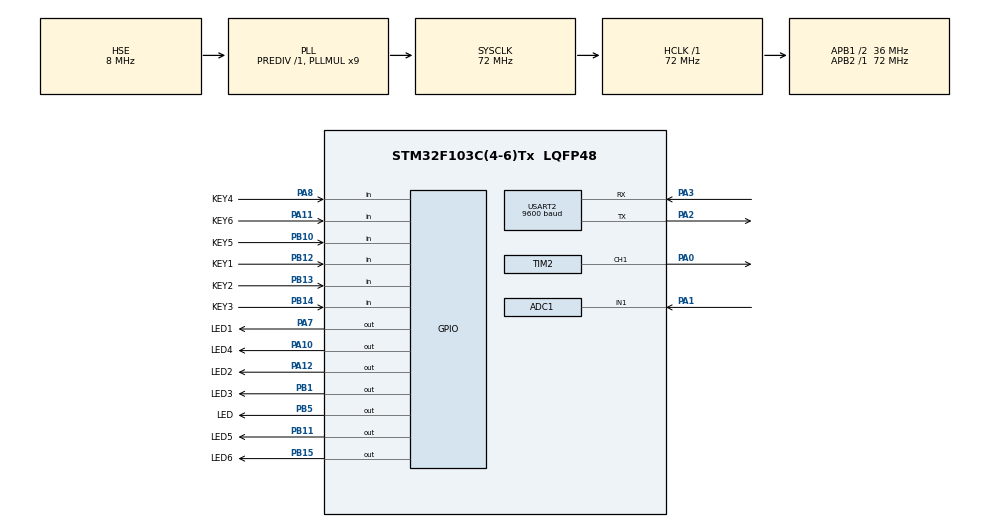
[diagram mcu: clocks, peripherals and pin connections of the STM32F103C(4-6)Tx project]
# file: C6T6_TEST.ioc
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ADC1.Channel-0\#ChannelRegularConversion=ADC_CHANNEL_1
ADC1.NbrOfConversionFlag=1
ADC1.Rank-0\#ChannelRegularConversion=1
ADC1.SamplingTime-0\#ChannelRegularConversion=ADC_SAMPLETIME_7CYCLES_5
ADC1.master=1
Dma.Request0=USART2_RX
Dma.USART2_RX.0.Direction=DMA_PERIPH_TO_MEMORY
Dma.USART2_RX.0.Instance=DMA1_Channel6
Dma.USART2_RX.0.MemDataAlignment=DMA_MDATAALIGN_BYTE
Dma.USART2_RX.0.MemInc=DMA_MINC_ENABLE
Dma.USART2_RX.0.Mode=DMA_NORMAL
Dma.USART2_RX.0.PeriphDataAlignment=DMA_PDATAALIGN_BYTE
Dma.USART2_RX.0.PeriphInc=DMA_PINC_DISABLE
Dma.USART2_RX.0.Priority=DMA_PRIORITY_HIGH
Mcu.Family=STM32F1
Mcu.Name=STM32F103C(4-6)Tx
Mcu.Package=LQFP48
NVIC.DMA1_Channel6_IRQn=true\:0\:0\:false\:false\:true\:false\:true
NVIC.PriorityGroup=NVIC_PRIORITYGROUP_1
NVIC.TIM1_UP_IRQn=true\:1\:7\:true\:false\:true\:true\:true
NVIC.TIM3_IRQn=true\:1\:0\:true\:false\:true\:true\:true
NVIC.USART2_IRQn=true\:0\:0\:true\:false\:true\:true\:true
PA0-WKUP.Signal=S_TIM2_CH1_ETR
PA1.Signal=ADCx_IN1
PA10.GPIO_Label=LED4
PA10.GPIO_PuPd=GPIO_PULLUP
PA10.GPIO_Speed=GPIO_SPEED_FREQ_HIGH
PA10.PinState=GPIO_PIN_SET
PA10.Signal=GPIO_Output
PA11.GPIO_Label=KEY6
PA11.GPIO_PuPd=GPIO_PULLDOWN
PA11.Signal=GPIO_Input
PA12.GPIO_Label=LED2
PA12.GPIO_PuPd=GPIO_PULLUP
PA12.GPIO_Speed=GPIO_SPEED_FREQ_HIGH
PA12.PinState=GPIO_PIN_SET
PA12.Signal=GPIO_Output
PA13.Mode=Serial_Wire
PA13.Signal=SYS_JTMS-SWDIO
PA14.Mode=Serial_Wire
PA14.Signal=SYS_JTCK-SWCLK
PA2.Mode=Asynchronous
PA2.Signal=USART2_TX
PA3.Mode=Asynchronous
PA3.Signal=USART2_RX
PA7.GPIO_Label=LED1
PA7.GPIO_PuPd=GPIO_PULLUP
PA7.GPIO_Speed=GPIO_SPEED_FREQ_HIGH
PA7.PinState=GPIO_PIN_SET
PA7.Signal=GPIO_Output
PA8.GPIO_Label=KEY4
PA8.GPIO_PuPd=GPIO_PULLDOWN
PA8.Signal=GPIO_Input
PB1.GPIO_Label=LED3
PB1.GPIO_PuPd=GPIO_PULLUP
PB1.GPIO_Speed=GPIO_SPEED_FREQ_HIGH
PB1.PinState=GPIO_PIN_SET
PB1.Signal=GPIO_Output
PB10.GPIO_Label=KEY5
PB10.GPIO_PuPd=GPIO_PULLDOWN
PB10.Signal=GPIO_Input
PB11.GPIO_Label=LED5
PB11.GPIO_PuPd=GPIO_PULLUP
PB11.GPIO_Speed=GPIO_SPEED_FREQ_HIGH
PB11.PinState=GPIO_PIN_SET
PB11.Signal=GPIO_Output
PB12.GPIO_Label=KEY1
PB12.GPIO_PuPd=GPIO_PULLDOWN
PB12.Signal=GPIO_Input
PB13.GPIO_Label=KEY2
PB13.GPIO_PuPd=GPIO_PULLDOWN
PB13.Signal=GPIO_Input
PB14.GPIO_Label=KEY3
PB14.GPIO_PuPd=GPIO_PULLDOWN
PB14.Signal=GPIO_Input
PB15.GPIO_Label=LED6
PB15.GPIO_PuPd=GPIO_PULLUP
PB15.GPIO_Speed=GPIO_SPEED_FREQ_HIGH
PB15.PinState=GPIO_PIN_SET
PB15.Signal=GPIO_Output
PB5.GPIO_Label=LED
PB5.GPIO_PuPd=GPIO_PULLUP
PB5.GPIO_Speed=GPIO_SPEED_FREQ_HIGH
PB5.PinState=GPIO_PIN_SET
PB5.Signal=GPIO_Output
PD0-OSC_IN.Mode=HSE-External-Oscillator
PD0-OSC_IN.Signal=RCC_OSC_IN
PD1-OSC_OUT.Mode=HSE-External-Oscillator
PD1-OSC_OUT.Signal=RCC_OSC_OUT
ProjectManager.HeapSize=0x200
ProjectManager.StackSize=0x400
ProjectManager.TargetToolchain=STM32CubeIDE
RCC.ADCPresc=RCC_ADCPCLK2_DIV8
RCC.AHBFreq_Value=72000000
RCC.APB1CLKDivider=RCC_HCLK_DIV2
RCC.APB1Freq_Value=36000000
RCC.APB1TimFreq_Value=72000000
RCC.APB2Freq_Value=72000000
RCC.APB2TimFreq_Value=72000000
RCC.HCLKFreq_Value=72000000
RCC.PLLMUL=RCC_PLL_MUL9
RCC.PLLSourceVirtual=RCC_PLLSOURCE_HSE
RCC.SYSCLKFreq_VALUE=72000000
RCC.SYSCLKSource=RCC_SYSCLKSOURCE_PLLCLK
RCC.USBFreq_Value=72000000
SH.ADCx_IN1.0=ADC1_IN1,IN1
SH.S_TIM2_CH1_ETR.0=TIM2_CH1,PWM Generation1 CH1
TIM1.ClockDivision=TIM_CLOCKDIVISION_DIV1
TIM1.Period=99
TIM1.Prescaler=7200
TIM2.Channel-PWM\ Generation1\ CH1=TIM_CHANNEL_1
TIM2.ClockDivision=TIM_CLOCKDIVISION_DIV1
TIM2.Period=2000
TIM2.Prescaler=720
TIM3.Period=40000
TIM3.Prescaler=8
USART2.BaudRate=9600
USART2.VirtualMode=VM_ASYNC
VP_RTC_VS_RTC_Activate.Mode=RTC_Enabled
VP_RTC_VS_RTC_Calendar.Mode=RTC_Calendar
VP_TIM1_VS_ClockSourceINT.Mode=Internal
VP_TIM2_VS_ClockSourceINT.Mode=Internal
VP_TIM3_VS_ClockSourceINT.Mode=Internal
board=custom

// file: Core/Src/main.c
/* USER CODE BEGIN Header */
/**
  ******************************************************************************
  * @file           : main.c
  * @brief          : Main program body
  ******************************************************************************
  * @attention
  *
  * <h2><center>&copy; Copyright (c) 2021 STMicroelectronics.
  * All rights reserved.</center></h2>
  *
  * This software component is licensed by ST under BSD 3-Clause license,
  * the "License"; You may not use this file except in compliance with the
  * License. You may obtain a copy of the License at:
  *                        opensource.org/licenses/BSD-3-Clause
  *
  ******************************************************************************
  */

/* USER CODE END Header */
#include "main.h"

/* USER CODE BEGIN Includes */
#include "stm32f1xx_hal_def.h"
/* USER CODE END Includes */

/* USER CODE BEGIN PTD */
typedef struct LED_STRUCT
{
	GPIO_TypeDef *LedPort;
	uint16_t LedPin;
}LEDS;

typedef struct KEY_STRUCT
{
	GPIO_TypeDef *KeyPort;
	uint16_t KeyPin;
}KEYS;
/* USER CODE END PTD */

ADC_HandleTypeDef hadc1;

RTC_HandleTypeDef hrtc;

TIM_HandleTypeDef htim1;
TIM_HandleTypeDef htim2;
TIM_HandleTypeDef htim3;

UART_HandleTypeDef huart2;
DMA_HandleTypeDef hdma_usart2_rx;

/* USER CODE BEGIN PV */
LEDS leds[6];
KEYS keys[6];
uint8_t key_states[6];
uint16_t ADC;
/* USER CODE END PV */

void SystemClock_Config(void);
static void MX_GPIO_Init(void);
static void MX_RTC_Init(void);
static void MX_TIM1_Init(void);
static void MX_TIM2_Init(void);
static void MX_TIM3_Init(void);
static void MX_DMA_Init(void);
static void MX_USART2_UART_Init(void);
static void MX_ADC1_Init(void);
/* USER CODE BEGIN PFP */
int counts=500;
char receive[10];
char send[10]="hahaha";
void set_pwm(uint16_t n);
void uart2pwm(char* rec, char len);
/* USER CODE END PFP */

int main(void)
{

  /* MCU Configuration--------------------------------------------------------*/

  /* Reset of all peripherals, Initializes the Flash interface and the Systick. */
  HAL_Init();

  /* USER CODE BEGIN Init */
  LEDS_INIT();
  KEYS_INIT();
  /* USER CODE END Init */

  /* Configure the system clock */
  SystemClock_Config();

  /* Initialize all configured peripherals */
  MX_GPIO_Init();
  MX_RTC_Init();
  MX_TIM1_Init();
  MX_TIM2_Init();
  MX_TIM3_Init();
  MX_DMA_Init();
  MX_USART2_UART_Init();
  MX_ADC1_Init();
  /* USER CODE BEGIN 2 */
  //HAL_UART_Receive_IT(&huart2, send, 1);
 // HAL_UART_Receive_IT(&huart2, receive, 1);

  HAL_TIM_Base_Start_IT(&htim1);
  //HAL_TIM_Base_Start_IT(&htim3);
  /* USER CODE END 2 */

  /* Infinite loop */
  /* USER CODE BEGIN WHILE */
   // set_pwm(counts);
  HAL_UART_Receive_DMA(&huart2, receive, 10);
    HAL_TIM_PWM_Start(&htim2, TIM_CHANNEL_1);
    __HAL_TIM_SET_COMPARE(&htim2, TIM_CHANNEL_1, 100);

  while (1)
  {

	  GPIO_PinState key0 = HAL_GPIO_ReadPin(keys[0].KeyPort, keys[0].KeyPin);
	  if(key0==1)
	  {
		  __HAL_TIM_SET_COMPARE(&htim2, TIM_CHANNEL_1, 100);
	  }

    /* USER CODE END WHILE */

  }
}

void SystemClock_Config(void)
{
  RCC_OscInitTypeDef RCC_OscInitStruct = {0};
  RCC_ClkInitTypeDef RCC_ClkInitStruct = {0};
  RCC_PeriphCLKInitTypeDef PeriphClkInit = {0};

  /** Initializes the RCC Oscillators according to the specified parameters
  * in the RCC_OscInitTypeDef structure.
  */
  RCC_OscInitStruct.OscillatorType = RCC_OSCILLATORTYPE_LSI|RCC_OSCILLATORTYPE_HSE;
  RCC_OscInitStruct.HSEState = RCC_HSE_ON;
  RCC_OscInitStruct.HSEPredivValue = RCC_HSE_PREDIV_DIV1;
  RCC_OscInitStruct.HSIState = RCC_HSI_ON;
  RCC_OscInitStruct.LSIState = RCC_LSI_ON;
  RCC_OscInitStruct.PLL.PLLState = RCC_PLL_ON;
  RCC_OscInitStruct.PLL.PLLSource = RCC_PLLSOURCE_HSE;
  RCC_OscInitStruct.PLL.PLLMUL = RCC_PLL_MUL9;
  if (HAL_RCC_OscConfig(&RCC_OscInitStruct) != HAL_OK)
  {
    Error_Handler();
  }
  /** Initializes the CPU, AHB and APB buses clocks
  */
  RCC_ClkInitStruct.ClockType = RCC_CLOCKTYPE_HCLK|RCC_CLOCKTYPE_SYSCLK
                              |RCC_CLOCKTYPE_PCLK1|RCC_CLOCKTYPE_PCLK2;
  RCC_ClkInitStruct.SYSCLKSource = RCC_SYSCLKSOURCE_PLLCLK;
  RCC_ClkInitStruct.AHBCLKDivider = RCC_SYSCLK_DIV1;
  RCC_ClkInitStruct.APB1CLKDivider = RCC_HCLK_DIV2;
  RCC_ClkInitStruct.APB2CLKDivider = RCC_HCLK_DIV1;

  if (HAL_RCC_ClockConfig(&RCC_ClkInitStruct, FLASH_LATENCY_2) != HAL_OK)
  {
    Error_Handler();
  }
  PeriphClkInit.PeriphClockSelection = RCC_PERIPHCLK_RTC|RCC_PERIPHCLK_ADC;
  PeriphClkInit.RTCClockSelection = RCC_RTCCLKSOURCE_LSI;
  PeriphClkInit.AdcClockSelection = RCC_ADCPCLK2_DIV8;
  if (HAL_RCCEx_PeriphCLKConfig(&PeriphClkInit) != HAL_OK)
  {
    Error_Handler();
  }
}

static void MX_ADC1_Init(void)
{

  ADC_ChannelConfTypeDef sConfig = {0};

  /** Common config
  */
  hadc1.Instance = ADC1;
  hadc1.Init.ScanConvMode = ADC_SCAN_DISABLE;
  hadc1.Init.ContinuousConvMode = DISABLE;
  hadc1.Init.DiscontinuousConvMode = DISABLE;
  hadc1.Init.ExternalTrigConv = ADC_SOFTWARE_START;
  hadc1.Init.DataAlign = ADC_DATAALIGN_RIGHT;
  hadc1.Init.NbrOfConversion = 1;
  if (HAL_ADC_Init(&hadc1) != HAL_OK)
  {
    Error_Handler();
  }
  /** Configure Regular Channel
  */
  sConfig.Channel = ADC_CHANNEL_1;
  sConfig.Rank = ADC_REGULAR_RANK_1;
  sConfig.SamplingTime = ADC_SAMPLETIME_7CYCLES_5;
  if (HAL_ADC_ConfigChannel(&hadc1, &sConfig) != HAL_OK)
  {
    Error_Handler();
  }

}

static void MX_RTC_Init(void)
{

  RTC_TimeTypeDef sTime = {0};
  RTC_DateTypeDef DateToUpdate = {0};

  /** Initialize RTC Only
  */
  hrtc.Instance = RTC;
  hrtc.Init.AsynchPrediv = RTC_AUTO_1_SECOND;
  hrtc.Init.OutPut = RTC_OUTPUTSOURCE_ALARM;
  if (HAL_RTC_Init(&hrtc) != HAL_OK)
  {
    Error_Handler();
  }

  /** Initialize RTC and set the Time and Date
  */
  sTime.Hours = 0x0;
  sTime.Minutes = 0x0;
  sTime.Seconds = 0x0;

  if (HAL_RTC_SetTime(&hrtc, &sTime, RTC_FORMAT_BCD) != HAL_OK)
  {
    Error_Handler();
  }
  DateToUpdate.WeekDay = RTC_WEEKDAY_MONDAY;
  DateToUpdate.Month = RTC_MONTH_JANUARY;
  DateToUpdate.Date = 0x1;
  DateToUpdate.Year = 0x0;

  if (HAL_RTC_SetDate(&hrtc, &DateToUpdate, RTC_FORMAT_BCD) != HAL_OK)
  {
    Error_Handler();
  }

}

static void MX_TIM1_Init(void)
{

  TIM_ClockConfigTypeDef sClockSourceConfig = {0};
  TIM_MasterConfigTypeDef sMasterConfig = {0};

  htim1.Instance = TIM1;
  htim1.Init.Prescaler = 7200;
  htim1.Init.CounterMode = TIM_COUNTERMODE_UP;
  htim1.Init.Period = 99;
  htim1.Init.ClockDivision = TIM_CLOCKDIVISION_DIV1;
  htim1.Init.RepetitionCounter = 0;
  htim1.Init.AutoReloadPreload = TIM_AUTORELOAD_PRELOAD_DISABLE;
  if (HAL_TIM_Base_Init(&htim1) != HAL_OK)
  {
    Error_Handler();
  }
  sClockSourceConfig.ClockSource = TIM_CLOCKSOURCE_INTERNAL;
  if (HAL_TIM_ConfigClockSource(&htim1, &sClockSourceConfig) != HAL_OK)
  {
    Error_Handler();
  }
  sMasterConfig.MasterOutputTrigger = TIM_TRGO_RESET;
  sMasterConfig.MasterSlaveMode = TIM_MASTERSLAVEMODE_DISABLE;
  if (HAL_TIMEx_MasterConfigSynchronization(&htim1, &sMasterConfig) != HAL_OK)
  {
    Error_Handler();
  }

}

static void MX_TIM2_Init(void)
{

  TIM_ClockConfigTypeDef sClockSourceConfig = {0};
  TIM_MasterConfigTypeDef sMasterConfig = {0};
  TIM_OC_InitTypeDef sConfigOC = {0};

  htim2.Instance = TIM2;
  htim2.Init.Prescaler = 720;
  htim2.Init.CounterMode = TIM_COUNTERMODE_UP;
  htim2.Init.Period = 2000;
  htim2.Init.ClockDivision = TIM_CLOCKDIVISION_DIV1;
  htim2.Init.AutoReloadPreload = TIM_AUTORELOAD_PRELOAD_DISABLE;
  if (HAL_TIM_Base_Init(&htim2) != HAL_OK)
  {
    Error_Handler();
  }
  sClockSourceConfig.ClockSource = TIM_CLOCKSOURCE_INTERNAL;
  if (HAL_TIM_ConfigClockSource(&htim2, &sClockSourceConfig) != HAL_OK)
  {
    Error_Handler();
  }
  if (HAL_TIM_PWM_Init(&htim2) != HAL_OK)
  {
    Error_Handler();
  }
  sMasterConfig.MasterOutputTrigger = TIM_TRGO_RESET;
  sMasterConfig.MasterSlaveMode = TIM_MASTERSLAVEMODE_DISABLE;
  if (HAL_TIMEx_MasterConfigSynchronization(&htim2, &sMasterConfig) != HAL_OK)
  {
    Error_Handler();
  }
  sConfigOC.OCMode = TIM_OCMODE_PWM1;
  sConfigOC.Pulse = 0;
  sConfigOC.OCPolarity = TIM_OCPOLARITY_HIGH;
  sConfigOC.OCFastMode = TIM_OCFAST_DISABLE;
  if (HAL_TIM_PWM_ConfigChannel(&htim2, &sConfigOC, TIM_CHANNEL_1) != HAL_OK)
  {
    Error_Handler();
  }
  HAL_TIM_MspPostInit(&htim2);

}

static void MX_TIM3_Init(void)
{

  TIM_ClockConfigTypeDef sClockSourceConfig = {0};
  TIM_MasterConfigTypeDef sMasterConfig = {0};

  htim3.Instance = TIM3;
  htim3.Init.Prescaler = 8;
  htim3.Init.CounterMode = TIM_COUNTERMODE_UP;
  htim3.Init.Period = 40000;
  htim3.Init.ClockDivision = TIM_CLOCKDIVISION_DIV1;
  htim3.Init.AutoReloadPreload = TIM_AUTORELOAD_PRELOAD_DISABLE;
  if (HAL_TIM_Base_Init(&htim3) != HAL_OK)
  {
    Error_Handler();
  }
  sClockSourceConfig.ClockSource = TIM_CLOCKSOURCE_INTERNAL;
  if (HAL_TIM_ConfigClockSource(&htim3, &sClockSourceConfig) != HAL_OK)
  {
    Error_Handler();
  }
  sMasterConfig.MasterOutputTrigger = TIM_TRGO_RESET;
  sMasterConfig.MasterSlaveMode = TIM_MASTERSLAVEMODE_DISABLE;
  if (HAL_TIMEx_MasterConfigSynchronization(&htim3, &sMasterConfig) != HAL_OK)
  {
    Error_Handler();
  }

}

static void MX_USART2_UART_Init(void)
{

  huart2.Instance = USART2;
  huart2.Init.BaudRate = 9600;
  huart2.Init.WordLength = UART_WORDLENGTH_8B;
  huart2.Init.StopBits = UART_STOPBITS_1;
  huart2.Init.Parity = UART_PARITY_NONE;
  huart2.Init.Mode = UART_MODE_TX_RX;
  huart2.Init.HwFlowCtl = UART_HWCONTROL_NONE;
  huart2.Init.OverSampling = UART_OVERSAMPLING_16;
  if (HAL_UART_Init(&huart2) != HAL_OK)
  {
    Error_Handler();
  }
  /* USER CODE BEGIN USART2_Init 2 */
  __HAL_UART_ENABLE_IT(&huart2, UART_IT_IDLE);  // 串口空闲中断

  /* USER CODE END USART2_Init 2 */

}

static void MX_DMA_Init(void)
{

  /* DMA controller clock enable */
  __HAL_RCC_DMA1_CLK_ENABLE();

  /* DMA interrupt init */
  /* DMA1_Channel6_IRQn interrupt configuration */
  HAL_NVIC_SetPriority(DMA1_Channel6_IRQn, 0, 0);
  HAL_NVIC_EnableIRQ(DMA1_Channel6_IRQn);

}

static void MX_GPIO_Init(void)
{
  GPIO_InitTypeDef GPIO_InitStruct = {0};

  /* GPIO Ports Clock Enable */
  __HAL_RCC_GPIOD_CLK_ENABLE();
  __HAL_RCC_GPIOA_CLK_ENABLE();
  __HAL_RCC_GPIOB_CLK_ENABLE();

  /*Configure GPIO pin Output Level */
  HAL_GPIO_WritePin(GPIOA, LED1_Pin|LED4_Pin|LED2_Pin, GPIO_PIN_SET);

  /*Configure GPIO pin Output Level */
  HAL_GPIO_WritePin(GPIOB, LED3_Pin|LED5_Pin|LED6_Pin|LED_Pin, GPIO_PIN_SET);

  /*Configure GPIO pins : LED1_Pin LED4_Pin LED2_Pin */
  GPIO_InitStruct.Pin = LED1_Pin|LED4_Pin|LED2_Pin;
  GPIO_InitStruct.Mode = GPIO_MODE_OUTPUT_PP;
  GPIO_InitStruct.Pull = GPIO_PULLUP;
  GPIO_InitStruct.Speed = GPIO_SPEED_FREQ_HIGH;
  HAL_GPIO_Init(GPIOA, &GPIO_InitStruct);

  /*Configure GPIO pins : LED3_Pin LED5_Pin LED6_Pin LED_Pin */
  GPIO_InitStruct.Pin = LED3_Pin|LED5_Pin|LED6_Pin|LED_Pin;
  GPIO_InitStruct.Mode = GPIO_MODE_OUTPUT_PP;
  GPIO_InitStruct.Pull = GPIO_PULLUP;
  GPIO_InitStruct.Speed = GPIO_SPEED_FREQ_HIGH;
  HAL_GPIO_Init(GPIOB, &GPIO_InitStruct);

  /*Configure GPIO pins : KEY5_Pin KEY1_Pin KEY2_Pin KEY3_Pin */
  GPIO_InitStruct.Pin = KEY5_Pin|KEY1_Pin|KEY2_Pin|KEY3_Pin;
  GPIO_InitStruct.Mode = GPIO_MODE_INPUT;
  GPIO_InitStruct.Pull = GPIO_PULLDOWN;
  HAL_GPIO_Init(GPIOB, &GPIO_InitStruct);

  /*Configure GPIO pins : KEY4_Pin KEY6_Pin */
  GPIO_InitStruct.Pin = KEY4_Pin|KEY6_Pin;
  GPIO_InitStruct.Mode = GPIO_MODE_INPUT;
  GPIO_InitStruct.Pull = GPIO_PULLDOWN;
  HAL_GPIO_Init(GPIOA, &GPIO_InitStruct);

}

/* USER CODE BEGIN 4 */
void HAL_TIM_PeriodElapsedCallback(TIM_HandleTypeDef *htim)
{
	if(htim->Instance==TIM1)
	{
		GPIO_PinState key0 = HAL_GPIO_ReadPin(keys[0].KeyPort, keys[0].KeyPin);
			  if(key0==1)
			  {
				  return;
				  HAL_TIMEx_PWMN_Stop(&htim2, TIM_CHANNEL_1);
				  HAL_TIM_Base_Stop(&htim1);
			  }

		HAL_ADC_Start(&hadc1);
		HAL_ADC_PollForConversion(&hadc1, 50);
		ADC = HAL_ADC_GetValue(&hadc1);
		//ADC=9999;
		send[0]='a';
		send[1]='d';
		send[2]=':';
		send[9]='~';
		for(uint8_t i=8; i>2; i-- )
		{
			if(ADC==0)
			{
				send[i]='0';
				continue;
			}
			uint16_t temp=(ADC%10);
			send[i]=(uint8_t) temp;
			send[i]+=48;
			ADC=(ADC-ADC%10)/10;
		}
		HAL_UART_Transmit(&huart2,send,10,0x200);
	}
	if(htim->Instance==TIM3)
	{

	}
}

void uart2pwm(char* rec, char len)
{
	int pwm=0;
	char temp=0;
	for(char i=0; i<len; i++)
	{
		pwm*=10;
		temp=*rec;
		rec++;
		temp-=48;
		pwm+=temp;

	}
	 GPIO_PinState key0 = HAL_GPIO_ReadPin(keys[0].KeyPort, keys[0].KeyPin);
		  if(key0==1)
		  {
			  pwm=0;
		  }
	__HAL_TIM_SET_COMPARE(&htim2, TIM_CHANNEL_1, pwm+100);
}

void USAR_UART_IDLECallback(UART_HandleTypeDef *huart)
{
	// 停止本次DMA传输
	    HAL_UART_DMAStop(&huart2);

	    // 计算接收到的数据长度
	    uint8_t data_length  = 10 - __HAL_DMA_GET_COUNTER(&hdma_usart2_rx);
	    //HAL_UART_Transmit(&huart2,receive,data_length,0x200);
	    uart2pwm(receive, data_length);
		// 清零接收缓冲�??????
	    memset(receive,0,data_length);
	    data_length = 0;

	    // 重启�??????始DMA传输 每次255字节数据
	    HAL_UART_Receive_DMA(&huart2, receive, 10);
}

void HAL_UART_RxCpltCallback(UART_HandleTypeDef *huart)
{
	static int counts=0;
	if(huart->Instance== USART2)
	{
		//HAL_UART_Receive_IT(&huart2, receive, 1);
		//HAL_UART_Transmit_IT(&huart2, receive+counts, 1);
		//counts++;
		//if(receive[counts-1])

	}
}

/*void HAL_GPIO_EXTI_Callback(uint16_t GPIO_PIN)
{
	uint8_t state;
	if(GPIO_PIN==KEY2_Pin)
	{
		state=HAL_GPIO_ReadPin(KEY2_GPIO_Port, KEY2_Pin);
		state=((state== GPIO_PIN_SET)?GPIO_PIN_RESET:GPIO_PIN_SET);
		HAL_GPIO_WritePin(LED_GPIO_Port, LED_Pin, state);
	}
	else if(GPIO_PIN==KEY1_Pin)
	{
		state=HAL_GPIO_ReadPin(KEY1_GPIO_Port, KEY1_Pin);
		if(state==GPIO_PIN_RESET)
		{
			HAL_TIM_Base_Start_IT(&htim1);
		}
		else
		{
			HAL_TIM_Base_Stop_IT(&htim1);
		}
	}
}*/

void set_pwm(uint16_t n)
{
	TIM_OC_InitTypeDef sConfigOC;//what does this mean?
	sConfigOC.OCMode= TIM_OCMODE_PWM1;
	sConfigOC.Pulse=n;
	sConfigOC.OCNPolarity=TIM_OCPOLARITY_HIGH;
	sConfigOC.OCFastMode=TIM_OCFAST_DISABLE;
	HAL_TIM_PWM_ConfigChannel(&htim2, &sConfigOC, TIM_CHANNEL_1);
	//HAL_TIM_PWM_Start(&htim2, TIM_CHANNEL_1);
}

void LEDS_INIT(void)
{
	leds[0].LedPin=LED1_Pin;
	leds[0].LedPort=LED1_GPIO_Port;
	leds[1].LedPin=LED2_Pin;
	leds[1].LedPort=LED2_GPIO_Port;
	leds[2].LedPin=LED3_Pin;
	leds[2].LedPort=LED3_GPIO_Port;
	leds[3].LedPin=LED4_Pin;
	leds[3].LedPort=LED4_GPIO_Port;
	leds[4].LedPin=LED5_Pin;
	leds[4].LedPort=LED5_GPIO_Port;
	leds[5].LedPin=LED6_Pin;
	leds[5].LedPort=LED6_GPIO_Port;
}
void KEYS_INIT(void)
{
	keys[0].KeyPin=KEY1_Pin;
	keys[0].KeyPort=KEY1_GPIO_Port;
	keys[1].KeyPin=KEY2_Pin;
	keys[1].KeyPort=KEY2_GPIO_Port;
	keys[2].KeyPin=KEY3_Pin;
	keys[2].KeyPort=KEY3_GPIO_Port;
	keys[3].KeyPin=KEY4_Pin;
	keys[3].KeyPort=KEY4_GPIO_Port;
	keys[4].KeyPin=KEY5_Pin;
	keys[4].KeyPort=KEY5_GPIO_Port;
	keys[5].KeyPin=KEY6_Pin;
	keys[5].KeyPort=KEY6_GPIO_Port;
}
/* USER CODE END 4 */

void Error_Handler(void)
{
  __disable_irq();
  while (1)
  {
  }
}

/************************ (C) COPYRIGHT STMicroelectronics *****END OF FILE****/
